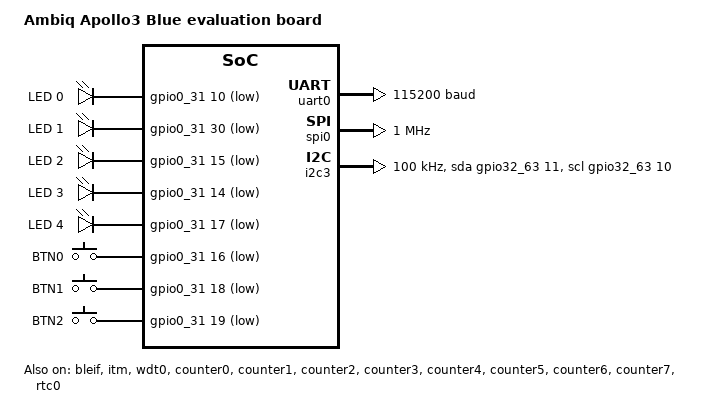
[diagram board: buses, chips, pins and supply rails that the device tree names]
/dts-v1/;
#include <ambiq/ambiq_apollo3_blue.dtsi>

#include "apollo3_evb-pinctrl.dtsi"
#include <zephyr/dt-bindings/input/input-event-codes.h>

/ {
	model = "Ambiq Apollo3 Blue evaluation board";
	compatible = "ambiq,apollo3_evb";

	chosen {
		zephyr,itcm = &tcm;
		zephyr,sram = &sram0;
		zephyr,flash = &flash0;
		zephyr,console = &uart0;
		zephyr,shell-uart = &uart0;
		zephyr,uart-mcumgr = &uart0;
		zephyr,uart-pipe = &uart0;
		zephyr,flash-controller = &flash;
		zephyr,bt_hci = &bt_hci_apollo;
		zephyr,code-partition = &slot0_partition;
	};

	aliases {
		watchdog0 = &wdt0;
		led0 = &led0;
		led1 = &led1;
		led2 = &led2;
		sw0 = &button0;
		sw1 = &button1;
		bootloader-led0 = &led0;
		mcuboot-led0 = &led0;
		rtc = &rtc0;
	};

	leds {
		compatible = "gpio-leds";
		led0: led_0 {
			gpios = <&gpio0_31 10 GPIO_ACTIVE_LOW>;
			label = "LED 0";
		};
		led1: led_1 {
			gpios = <&gpio0_31 30 GPIO_ACTIVE_LOW>;
			label = "LED 1";
		};
		led2: led_2 {
			gpios = <&gpio0_31 15 GPIO_ACTIVE_LOW>;
			label = "LED 2";
		};
		led3: led_3 {
			gpios = <&gpio0_31 14 GPIO_ACTIVE_LOW>;
			label = "LED 3";
		};
		led4: led_4 {
			gpios = <&gpio0_31 17 GPIO_ACTIVE_LOW>;
			label = "LED 4";
		};
	};

	buttons {
		compatible = "gpio-keys";
		button0: button_0 {
			gpios = <&gpio0_31 16 GPIO_ACTIVE_LOW>;
			label = "BTN0";
			zephyr,code = <INPUT_KEY_0>;
		};
		button1: button_1 {
			gpios = <&gpio0_31 18 GPIO_ACTIVE_LOW>;
			label = "BTN1";
			zephyr,code = <INPUT_KEY_1>;
		};
		button2: button_2 {
			gpios = <&gpio0_31 19 GPIO_ACTIVE_LOW>;
			label = "BTN2";
			zephyr,code = <INPUT_KEY_2>;
		};
	};
};

&flash0 {
	erase-block-size = <8192>;
	write-block-size = <4>;

	partitions {
		compatible = "fixed-partitions";
		#address-cells = <1>;
		#size-cells = <1>;

		internal_boot_partition: partition@0 {
			label = "internal_bootloader";
			reg = <0x00000000 0xc000>;
		};

		boot_partition: partition@c000 {
			label = "mcuboot";
			reg = <0x0000c000 0xc000>;
		};
		slot0_partition: partition@18000 {
			label = "image-0";
			reg = <0x00018000 0x72000>;
		};
		slot1_partition: partition@8a000 {
			label = "image-1";
			reg = <0x0008a000 0x72000>;
		};

		/* Set 16KB of storage at the end of the 1024KB of flash */
		storage_partition: partition@fc000 {
			label = "storage";
			reg = <0x000fc000 0x4000>;
		};
	};
};

&stimer0 {
	clk-source = <3>;
};

&bleif {
	pinctrl-0 = <&bleif_default>;
	pinctrl-names = "default";
	status = "okay";
};

&uart0 {
	current-speed = <115200>;
	pinctrl-0 = <&uart0_default>;
	pinctrl-names = "default";
	status = "okay";
};

&itm {
	pinctrl-0 = <&itm_default>;
	pinctrl-names = "default";
	status = "okay";
};

&wdt0 {
	status = "okay";
};

&spi0 {
	pinctrl-0 = <&spi0_default>;
	pinctrl-names = "default";
	cs-gpios = <&gpio0_31 11 GPIO_ACTIVE_LOW>;
	clock-frequency = <DT_FREQ_M(1)>;
	status = "okay";
};

&i2c3 {
	pinctrl-0 = <&i2c3_default>;
	pinctrl-names = "default";
	clock-frequency = <I2C_BITRATE_STANDARD>;
	scl-gpios = <&gpio32_63 10 (GPIO_OPEN_DRAIN | GPIO_PULL_UP)>;
	sda-gpios = <&gpio32_63 11 (GPIO_OPEN_DRAIN | GPIO_PULL_UP)>;
	status = "okay";
};

&counter0 {
	status = "okay";
};

&counter1 {
	status = "okay";
};

&counter2 {
	status = "okay";
};

&counter3 {
	status = "okay";
};

&counter4 {
	status = "okay";
};

&counter5 {
	status = "okay";
};

&counter6 {
	status = "okay";
};

&counter7 {
	status = "okay";
};

&rtc0 {
	status = "okay";
	clock = "XTAL";
};

&adc0 {
	pinctrl-0 = <&adc0_default>;
	pinctrl-names = "default";
	status = "disabled";
};

&gpio0_31 {
	status = "okay";
};

&gpio32_63 {
	status = "okay";
};
